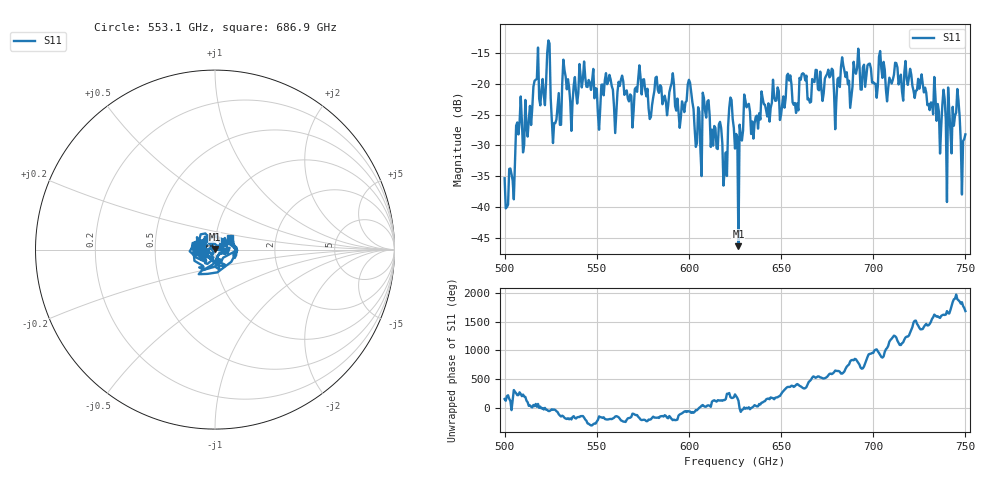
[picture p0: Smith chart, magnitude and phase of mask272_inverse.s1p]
!Created with skrf (http://scikit-rf.org).
# GHz S MA R 50.0
!freq magS11 angS11
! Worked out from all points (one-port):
!   401 points, 500 GHz to 750 GHz, reference 50 ohm
!   lowest |S11| = -46.4 dB at 626.9 GHz (marker M1), VSWR 1.01, Z = 49.7 + j0.394 ohm
!   |S11| at or under -10 dB: start of sweep to end of sweep
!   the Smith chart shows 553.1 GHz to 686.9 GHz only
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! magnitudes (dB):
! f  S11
! 500 GHz  -35.3
! 516.9 GHz  -19.3
! 520.6 GHz  -19.2
! 523.8 GHz  -13.0
! 526.9 GHz  -26.4
! 531.2 GHz  -20.0
! 560 GHz  -28.0
! 562.5 GHz  -20.3
! 579.4 GHz  -25.4
! 590.6 GHz  -19.9
! 593.8 GHz  -22.4
! 600.6 GHz  -19.8
! 605.6 GHz  -24.5
! 608.8 GHz  -24.4
! 619.4 GHz  -34.1
! 622.5 GHz  -22.2
! 625 GHz  -30.5
! 626.9 GHz  -46.4
! 631.2 GHz  -23.8
! 635 GHz  -28.9
! 656.2 GHz  -23.0
! 676.9 GHz  -18.7
! 680 GHz  -22.6
! 683.8 GHz  -17.0
! 687.5 GHz  -23.9
! 690.6 GHz  -18.4
! 718.8 GHz  -20.2
! 750 GHz  -28.2
